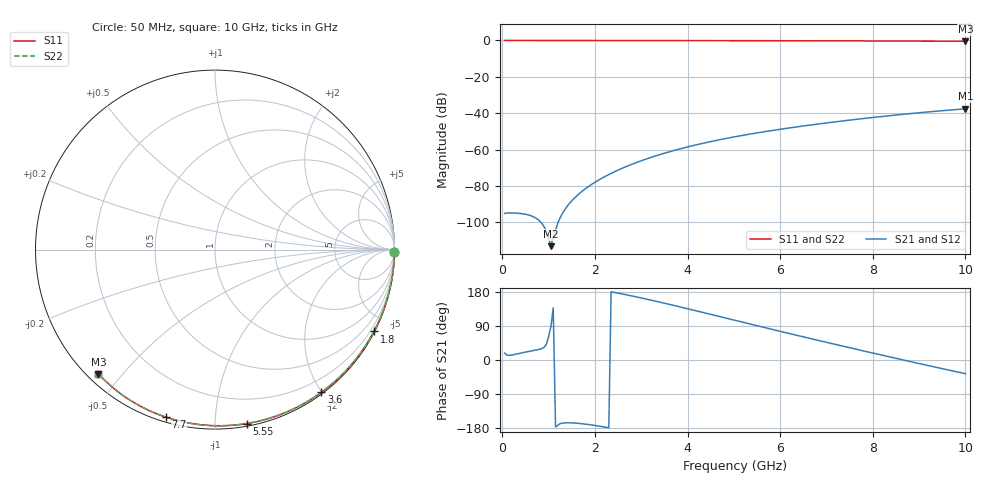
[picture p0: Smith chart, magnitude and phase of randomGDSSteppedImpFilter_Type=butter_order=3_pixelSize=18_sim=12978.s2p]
! freq	dB(S11)	phase(S11)	dB(S12)	phase(S12)
!  dB(S21)	phase(S21)	dB(S22)	phase(S22)
!S-par simulation data
#  GHz  S  DB  R 50
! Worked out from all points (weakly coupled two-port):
!   200 points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, 50 MHz to 10 GHz, reference 50 ohm
!   highest |S21| = -37.61 dB at 10 GHz (marker M1); lowest = -113.2 dB at 1.05 GHz (marker M2)
!   lowest |S11| = -0.5 dB at 10 GHz (marker M3), VSWR 38.49, Z = 1.54 - j21.7 ohm
!   |S11| at or under -10 dB: nowhere
!   |S22| runs from -0.5 to 0.0 dB; largest |S21 - S12| = 0
!   S11 on the Smith chart (normalised r, x): 50 MHz: open; 1.8 GHz: 0.04, -4.12; 3.6 GHz: 0.02, -1.99; 5.55 GHz: 0.02, -1.20; 7.7 GHz: 0.02, -0.75; 10 GHz: 0.03, -0.43
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0.05  -0.00 -0.8  -95.17 18.3  -95.17 18.3  -0.00 -0.8
0.55  -0.01 -8.4  -95.88 22.1  -95.88 22.1  -0.01 -8.4
1.05  -0.02 -16.0  -113.17 88.1  -113.17 88.1  -0.02 -16.0
1.75  -0.03 -26.5  -82.44 -168.5  -82.44 -168.5  -0.03 -26.5
1.8  -0.03 -27.3  -81.47 -169.3  -81.47 -169.3  -0.03 -27.3
1.85  -0.04 -28.0  -80.55 -170.1  -80.55 -170.1  -0.04 -28.0
1.9  -0.04 -28.7  -79.68 -170.9  -79.68 -170.9  -0.04 -28.8
2.05  -0.04 -31.0  -77.26 -173.7  -77.26 -173.7  -0.04 -31.0
2.25  -0.04 -33.9  -74.41 -177.8  -74.41 -177.8  -0.04 -33.9
2.65  -0.05 -39.7  -69.65 172.8  -69.65 172.8  -0.05 -39.8
3  -0.06 -44.8  -66.19 163.8  -66.19 163.8  -0.06 -44.8
3.4  -0.07 -50.5  -62.80 152.8  -62.80 152.8  -0.07 -50.5
3.6  -0.07 -53.3  -61.29 147.1  -61.29 147.1  -0.07 -53.3
4.3  -0.09 -63.0  -56.75 126.4  -56.75 126.4  -0.09 -63.0
5.05  -0.11 -73.1  -52.85 103.9  -52.85 103.9  -0.11 -73.1
5.55  -0.13 -79.6  -50.65 89.0  -50.65 89.0  -0.13 -79.6
6.1  -0.15 -86.6  -48.48 72.7  -48.48 72.7  -0.15 -86.7
6.7  -0.18 -94.2  -46.36 55.3  -46.36 55.3  -0.18 -94.2
7.7  -0.24 -106.3  -43.23 26.8  -43.23 26.8  -0.24 -106.4
8.35  -0.29 -114.0  -41.42 8.6  -41.42 8.6  -0.29 -114.1
9.15  -0.36 -123.4  -39.42 -13.4  -39.42 -13.4  -0.36 -123.4
10  -0.45 -133.1  -37.61 -36.1  -37.61 -36.1  -0.45 -133.2
